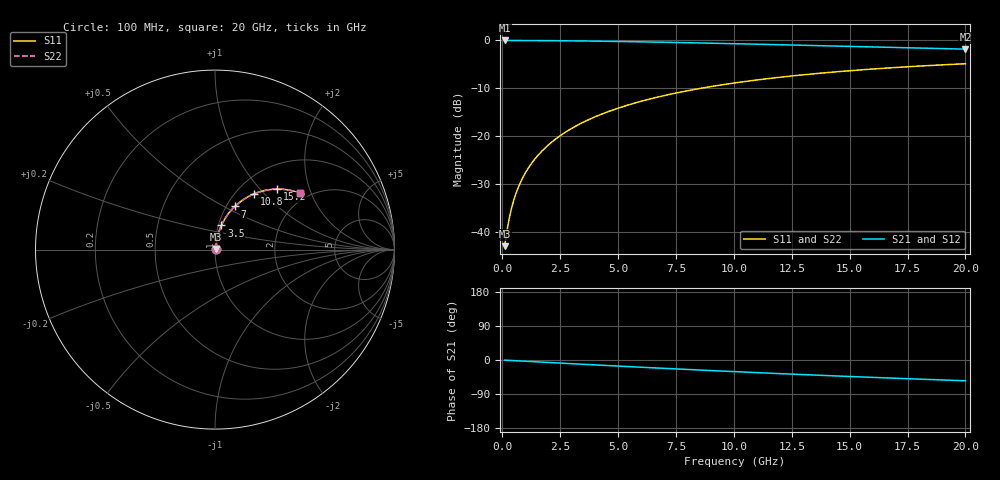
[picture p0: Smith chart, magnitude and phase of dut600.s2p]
! Touchstone file exported from HFSS 2026.1.0
!  File:  C:/ffzhzh/LocalFiles/Ansys_Project_Files/temp_train_BSMRDL_600_1783016041_4048.aedt
!  Generated:  02:15:41 AM Jul  3, 2026
!  Design:  BSMRDL
!  Project:  temp_train_BSMRDL_600_1783016041_4048
! Variables:
!  h_bsmrdl = 4.5um
!  h_ox = 20um
!  h_rdl = 5um
!  h_sub = 80um
!  h_tmrdl = 5um
!  h_tsv = 80um
!  h_via = 3um
!  l_bsmrdl = 793.14um
!  l_sub = 1193.14um
!  l_tmrdl = 200um
!  m_sub = 200um
!  pitch = 44.97um
!  r_tsv = 6um
!  s_tmrdl = 10um
!  w_bsmrdl = 10.94um
!  w_sub = 500um
!  w_tmrdl = 12um
!  x_tsv_center1 = 206um
!  x_tsv_center2 = 1010.08um
!  x_tsv_center3 = 1222.08um
!  x_tsv_center4 = 2026.16um
!  x_tsv_center5 = 2238.16um
!  x_tsv_center6 = 3042.24um
# GHz S MA R 50.000000
! Terminal data exported
! Port[1] = BSM_RDL1_1_T1
! Port[2] = BSM_RDL1_1_T2
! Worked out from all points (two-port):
!   200 points, 100 MHz to 20 GHz, reference 50 ohm
!   highest |S21| = -0.05 dB at 100 MHz (marker M1); lowest = -1.9 dB at 20 GHz (marker M2)
!   |S21| within 3 dB of the highest: start of sweep to end of sweep
!   lowest |S11| = -43.0 dB at 100 MHz (marker M3), VSWR 1.01, Z = 50.6 + j0.422 ohm
!   |S11| at or under -10 dB: start of sweep to 8.623 GHz
!   |S22| runs from -43.0 to -4.9 dB; largest |S21 - S12| = 4.6e-15
!   S11 on the Smith chart (normalised r, x): 100 MHz: 1.01, +0.01; 3.5 GHz: 1.03, +0.28; 7 GHz: 1.10, +0.57; 10.8 GHz: 1.21, +0.88; 15.2 GHz: 1.42, +1.25; 20 GHz: 1.80, +1.67
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0.1  0.007062 36.2  0.9943 -0.3  0.9943 -0.3  0.007062 36.2
! Gamma 0 0 0 0
! Port Impedance 50 0 50 0
0.2  0.01016 54.8  0.9942 -0.7  0.9942 -0.7  0.01016 54.8
0.3  0.01381 63.9  0.9941 -1.0  0.9941 -1.0  0.01381 63.9
0.4  0.01764 68.9  0.9939 -1.3  0.9939 -1.3  0.01764 68.9
0.5  0.02153 72.0  0.9937 -1.7  0.9937 -1.7  0.02153 72.0
0.6  0.02546 74.0  0.9935 -2.0  0.9935 -2.0  0.02546 74.0
0.8  0.03336 76.4  0.9931 -2.6  0.9931 -2.6  0.03336 76.4
1.1  0.04527 78.1  0.9925 -3.6  0.9925 -3.6  0.04526 78.1
1.5  0.06117 78.7  0.9914 -4.9  0.9914 -4.9  0.06117 78.7
2.1  0.08493 78.3  0.9892 -6.9  0.9892 -6.9  0.08493 78.3
2.7  0.1084 77.1  0.9865 -8.8  0.9865 -8.8  0.1084 77.1
3.5  0.1393 75.2  0.9819 -11.4  0.9819 -11.4  0.1393 75.2
5  0.195 71.0  0.971 -16.1  0.971 -16.1  0.195 71.0
6.8  0.2577 65.9  0.9546 -21.5  0.9546 -21.5  0.2577 65.9
7  0.2644 65.3  0.9527 -22.1  0.9527 -22.1  0.2644 65.4
8.5  0.3124 61.1  0.937 -26.5  0.937 -26.5  0.3124 61.2
10.1  0.3598 56.8  0.9191 -30.9  0.9191 -30.9  0.3598 56.9
10.8  0.3793 55.0  0.911 -32.8  0.911 -32.8  0.3792 55.0
13.4  0.4449 48.4  0.8803 -39.6  0.8803 -39.6  0.4448 48.5
15.2  0.4843 44.1  0.8592 -44.0  0.8592 -44.0  0.4843 44.2
16.7  0.5137 40.7  0.8421 -47.5  0.8421 -47.5  0.5137 40.8
20  0.5681 33.5  0.8071 -54.8  0.8071 -54.8  0.5681 33.7
